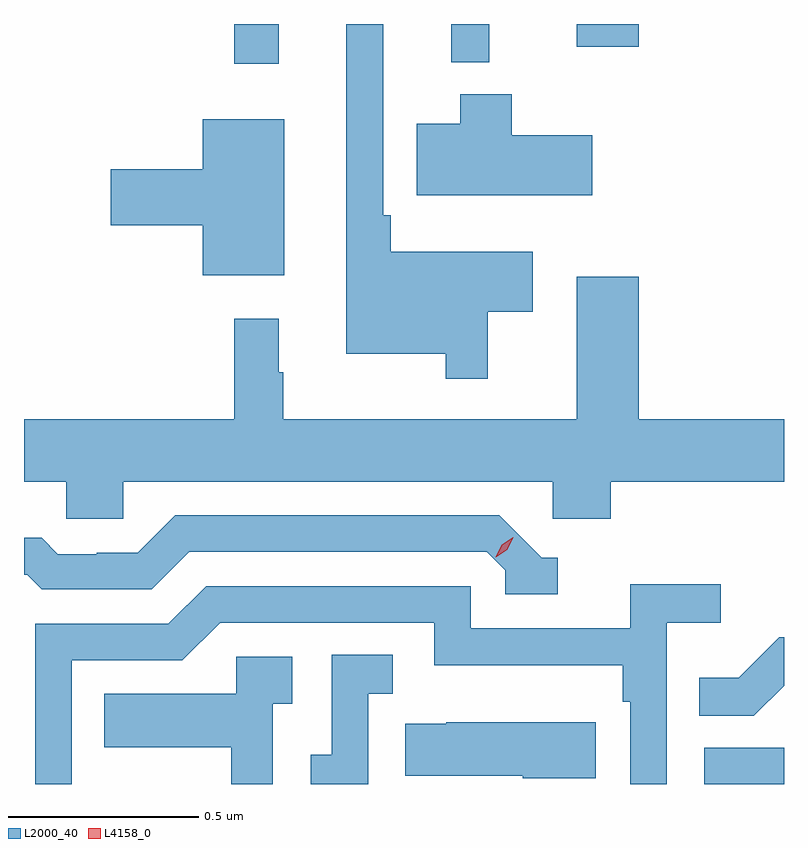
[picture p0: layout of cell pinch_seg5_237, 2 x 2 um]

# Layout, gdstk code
import gdstk
lib = gdstk.Library(unit=1e-6, precision=1e-09)
def R(c, l, rs):  # rectangles x0, y0, x1, y1
    for r in rs: c.add(gdstk.rectangle(r[:2], r[2:], *l))
def P(c, l, *ps):  # polygons
    for p in ps: c.add(gdstk.Polygon(p, *l))
L2000_40 = (2000, 40)
L4158_0 = (4158, 0)

pinch_seg5_237 = lib.new_cell('pinch_seg5_237')
R(pinch_seg5_237, L2000_40, [(956.552,899.92,956.762,900.015), (955.315,901.815,955.433,901.92), (955.886,901.82,955.986,901.92), (956.216,901.86,956.38,901.92)])
P(pinch_seg5_237, L2000_40, [(955.983,901.163),(956.101,901.163),(956.101,901.321),(955.727,901.321),(955.727,901.417),(955.707,901.417),(955.707,901.92),(955.61,901.92),(955.61,901.052),(955.872,901.052),(955.872,900.987),(955.983,900.987)],
  [(956.257,901.627),(956.045,901.627),(956.045,901.735),(955.91,901.735),(955.91,901.657),(955.796,901.657),(955.796,901.469),(956.257,901.469)],
  [(955.447,901.669),(955.232,901.669),(955.232,901.538),(954.99,901.538),(954.99,901.391),(955.232,901.391),(955.232,901.259),(955.447,901.259)],
  [(955.023,900.716),(956.154,900.716),(956.154,900.618),(956.306,900.618),(956.306,900.716),(956.762,900.716),(956.762,900.88),(956.38,900.88),(956.38,901.255),(956.216,901.255),(956.216,900.88),(955.444,900.88),(955.444,901.004),(955.432,901.004),(955.432,901.144),(955.315,901.144),(955.315,900.88),(954.762,900.88),(954.762,900.716),(954.873,900.716),(954.873,900.618),(955.023,900.618)],
  [(956.167,900.516),(956.124,900.516),(956.013,900.627),(955.16,900.627),(955.061,900.528),(954.954,900.528),(954.954,900.525),(954.851,900.525),(954.809,900.568),(954.762,900.568),(954.762,900.471),(954.77,900.471),(954.809,900.432),(955.098,900.432),(955.197,900.531),(955.98,900.531),(956.028,900.483),(956.028,900.42),(956.167,900.42)],
  [(954.888,900.246),(955.179,900.246),(955.278,900.345),(955.842,900.345),(955.842,900.233),(956.338,900.233),(956.338,900.137),(956.358,900.137),(956.358,899.92),(956.454,899.92),(956.454,900.344),(956.596,900.344),(956.596,900.446),(956.357,900.446),(956.357,900.33),(955.938,900.33),(955.938,900.441),(955.241,900.441),(955.142,900.342),(954.792,900.342),(954.792,899.92),(954.888,899.92)],
  [(956.762,900.179),(956.762,900.306),(956.75,900.306),(956.643,900.199),(956.539,900.199),(956.539,900.1),(956.683,900.1)],
  [(955.668,900.157),(955.732,900.157),(955.732,900.26),(955.572,900.26),(955.572,899.997),(955.517,899.997),(955.517,899.92),(955.668,899.92)],
  [(955.416,900.131),(955.468,900.131),(955.468,900.255),(955.32,900.255),(955.32,900.157),(954.973,900.157),(954.973,900.017),(955.308,900.017),(955.308,899.92),(955.416,899.92)],
  [(956.266,900.082),(955.873,900.082),(955.873,900.079),(955.765,900.079),(955.765,899.942),(956.075,899.942),(956.075,899.935),(956.266,899.935)])
P(pinch_seg5_237, L4158_0, [(956.003,900.517),(956.003,900.518),(956.019,900.55),(956.05,900.57),(956.05,900.57),(956.05,900.57),(956.034,900.537),(956.004,900.517)])

lib.write_gds('pinch_seg5_237.gds')
